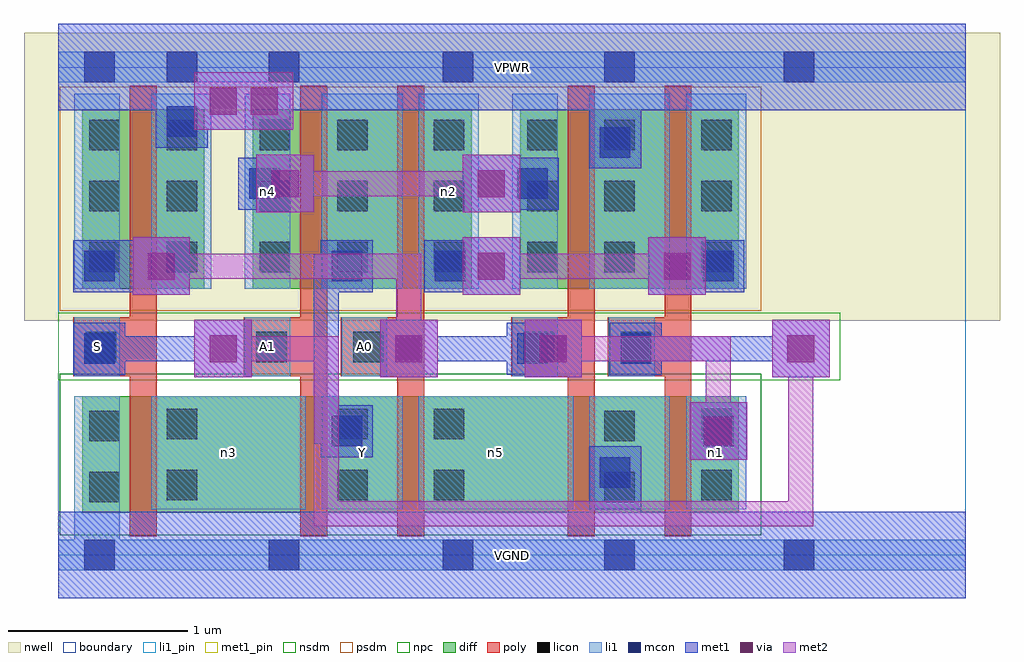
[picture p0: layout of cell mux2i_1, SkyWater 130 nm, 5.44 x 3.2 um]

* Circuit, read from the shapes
.subckt mux2i_1 A0 A1 S VGND VPWR Y n1 n2 n3 n4 n5
XM1 n3 S VGND VSUBS sky130_fd_pr__nfet_01v8 w=0.65 l=0.15
XM2 Y A1 n3 VSUBS sky130_fd_pr__nfet_01v8 w=0.65 l=0.15
XM3 n5 A0 Y VSUBS sky130_fd_pr__nfet_01v8 w=0.65 l=0.15
XM4 VGND n1 n5 VSUBS sky130_fd_pr__nfet_01v8 w=0.65 l=0.15
XM5 n1 S VGND VSUBS sky130_fd_pr__nfet_01v8 w=0.65 l=0.15
XM6 VPWR S n1 n6 sky130_fd_pr__pfet_01v8 w=1 l=0.15
XM7 Y A1 n4 n6 sky130_fd_pr__pfet_01v8 w=1 l=0.15
XM8 n2 A0 Y n6 sky130_fd_pr__pfet_01v8 w=1 l=0.15
XM9 VPWR n1 n4 n6 sky130_fd_pr__pfet_01v8 w=1 l=0.15
XM10 n2 S VPWR n6 sky130_fd_pr__pfet_01v8 w=1 l=0.15
.ends

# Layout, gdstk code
import gdstk
lib = gdstk.Library(unit=1e-6, precision=1e-09)
def R(c, l, rs):  # rectangles x0, y0, x1, y1
    for r in rs: c.add(gdstk.rectangle(r[:2], r[2:], *l))
def A(c, l, x, y, w, h, nx, ny, dx, dy):  # array of equal rectangles
    R(c, l, [(x+i*dx, y+j*dy, x+i*dx+w, y+j*dy+h) for i in range(nx) for j in range(ny)])
nwell = (64, 20)
diff = (65, 20)
poly = (66, 20)
licon = (66, 44)
li1_pin = (67, 16)
li1 = (67, 20)
mcon = (67, 44)
met1_pin = (68, 16)
met1 = (68, 20)
via = (68, 44)
met2 = (69, 20)
nsdm = (93, 44)
psdm = (94, 20)
npc = (95, 20)
boundary = (235, 4)

mux2i_1 = lib.new_cell('mux2i_1')
R(mux2i_1, nwell, [(-0.19,1.305,5.25,2.91), (0,1.305,5.06,2.91)])
R(mux2i_1, diff, [(0.135,0.235,3.795,0.885), (0.135,1.485,0.815,2.485), (1.085,1.485,2.305,2.485), (2.575,1.485,3.795,2.485)])
R(mux2i_1, poly, [(0.4,0.105,0.55,2.615), (1.35,0.105,1.5,2.615), (1.89,0.105,2.04,2.615), (2.84,0.105,2.99,2.615), (3.38,0.105,3.53,2.615), (0.085,0.995,0.55,1.325), (1.035,0.995,1.5,1.325), (1.575,0.995,2.04,1.325), (2.525,0.995,2.99,1.325), (3.065,0.995,3.53,1.325)])
A(mux2i_1, licon, 0.175, 1.575, 0.17, 0.17, 1, 3, 0, 0.34)
A(mux2i_1, licon, 0.605, 1.575, 0.17, 0.17, 1, 3, 0, 0.34)
A(mux2i_1, licon, 1.125, 1.575, 0.17, 0.17, 1, 3, 0, 0.34)
A(mux2i_1, licon, 1.555, 1.575, 0.17, 0.17, 1, 3, 0, 0.34)
A(mux2i_1, licon, 2.095, 1.575, 0.17, 0.17, 1, 3, 0, 0.34)
A(mux2i_1, licon, 2.615, 1.575, 0.17, 0.17, 1, 3, 0, 0.34)
A(mux2i_1, licon, 3.045, 1.575, 0.17, 0.17, 1, 3, 0, 0.34)
A(mux2i_1, licon, 3.585, 1.575, 0.17, 0.17, 1, 3, 0, 0.34)
R(mux2i_1, licon, [(0.175,0.295,0.345,0.465), (3.045,0.295,3.215,0.465), (0.605,0.305,0.775,0.475), (1.555,0.305,1.725,0.475), (2.095,0.305,2.265,0.475), (3.585,0.305,3.755,0.475), (0.175,0.635,0.345,0.805), (3.045,0.635,3.215,0.805), (0.605,0.645,0.775,0.815), (1.555,0.645,1.725,0.815), (2.095,0.645,2.265,0.815), (3.585,0.645,3.755,0.815), (0.155,1.075,0.325,1.245), (1.105,1.075,1.275,1.245), (1.645,1.075,1.815,1.245), (2.595,1.075,2.765,1.245), (3.135,1.075,3.305,1.245)])
R(mux2i_1, li1_pin, [(1.47,0.255,1.92,0.885), (0.09,0.995,0.345,1.325), (1.04,0.995,1.295,1.325), (1.58,0.995,1.835,1.325)])
A(mux2i_1, li1, 0.52, 1.485, 0.335, 1.085, 3, 1, 1.49, 0)
R(mux2i_1, li1, [(0,-0.085,5.06,0.085), (0.09,-0.085,0.345,0.885), (0.52,0.255,1.38,0.885), (1.47,0.255,1.92,0.885), (2.01,0.255,2.87,0.885), (2.96,0.255,3.41,0.885), (3.5,0.255,3.835,0.885), (0.09,0.995,0.345,1.325), (1.04,0.995,1.295,1.325), (1.58,0.995,1.835,1.325), (2.53,0.995,2.785,1.325), (3.07,0.995,3.325,1.325), (0.09,1.485,0.345,2.57), (1.04,1.485,1.295,2.57), (1.47,1.485,1.92,2.57), (2.53,1.485,2.785,2.57), (2.96,1.485,3.41,2.57), (0,2.635,5.06,2.805)])
R(mux2i_1, mcon, [(0.145,-0.085,0.315,0.085), (1.175,-0.085,1.345,0.085), (2.145,-0.085,2.315,0.085), (3.045,-0.085,3.215,0.085), (4.045,-0.085,4.215,0.085), (3.02,0.375,3.19,0.545), (1.525,0.605,1.695,0.775), (3.595,0.605,3.765,0.775), (0.145,1.065,0.315,1.235), (2.56,1.065,2.73,1.235), (3.135,1.065,3.305,1.235), (0.145,1.525,0.315,1.695), (1.525,1.525,1.695,1.695), (2.1,1.525,2.27,1.695), (3.595,1.525,3.765,1.695), (1.065,1.985,1.235,2.155), (2.56,1.985,2.73,2.155), (3.02,2.215,3.19,2.385), (0.605,2.33,0.775,2.5), (0.145,2.635,0.315,2.805), (0.605,2.635,0.775,2.805), (1.175,2.635,1.345,2.805), (2.145,2.635,2.315,2.805), (3.045,2.635,3.215,2.805), (4.045,2.635,4.215,2.805)])
R(mux2i_1, met1_pin, [(0,-0.24,5.06,0.24), (0,2.48,5.06,2.96)])
R(mux2i_1, met1, [(0,-0.24,5.06,0.24), (3.035,0.045,3.175,0.185), (3.035,0.045,3.175,0.53), (2.96,0.24,3.25,0.315), (2.96,0.315,3.25,0.605), (3.52,0.53,3.84,0.85), (1.465,0.545,1.755,0.835), (3.535,0.545,3.825,0.835), (1.425,0.62,1.68,0.76), (1.425,0.62,1.565,1.68), (0.76,0.99,1.08,1.31), (1.795,0.99,2.115,1.31), (2.6,0.99,2.92,1.31), (3.98,0.99,4.3,1.31), (0.085,1.005,0.375,1.295), (2.5,1.005,2.79,1.295), (3.075,1.005,3.365,1.295), (0.16,1.08,0.99,1.22), (1.885,1.08,2.715,1.22), (2.575,1.08,2.83,1.22), (3.15,1.08,4.21,1.22), (0.415,1.45,0.735,1.77), (2.255,1.45,2.575,1.77), (3.29,1.45,3.61,1.77), (0.085,1.465,0.375,1.755), (0.375,1.465,0.415,1.755), (1.465,1.465,1.755,1.755), (2.04,1.465,2.33,1.755), (3.535,1.465,3.825,1.755), (0.16,1.54,0.645,1.68), (1.425,1.54,1.68,1.68), (2.115,1.54,2.485,1.68), (3.38,1.54,3.75,1.68), (1.105,1.91,1.425,2.23), (2.255,1.91,2.575,2.23), (1.005,1.925,1.295,2.215), (2.5,1.925,2.79,2.215), (1.08,2,1.335,2.14), (2.345,2,2.715,2.14), (2.96,2.155,3.25,2.445), (3.035,2.23,3.175,2.715), (0.545,2.27,0.835,2.56), (0.62,2.345,0.76,2.6), (0.76,2.37,1.08,2.69), (0.99,2.37,1.31,2.69), (2.96,2.445,3.25,2.48), (2.96,2.445,3.175,2.575), (0.62,2.46,0.99,2.6), (0.62,2.46,0.76,2.79), (1.08,2.46,1.22,2.715), (0,2.48,5.06,2.96), (0.545,2.575,0.835,2.865), (1.08,2.575,3.175,2.715)])
R(mux2i_1, via, [(3.605,0.615,3.755,0.765), (0.845,1.075,0.995,1.225), (1.88,1.075,2.03,1.225), (2.685,1.075,2.835,1.225), (4.065,1.075,4.215,1.225), (0.5,1.535,0.65,1.685), (2.34,1.535,2.49,1.685), (3.375,1.535,3.525,1.685), (1.19,1.995,1.34,2.145), (2.34,1.995,2.49,2.145), (0.845,2.455,0.995,2.605), (1.075,2.455,1.225,2.605)])
R(mux2i_1, met2, [(1.425,0.16,1.565,1.22), (1.425,0.16,4.21,0.3), (4.07,0.16,4.21,1.22), (3.52,0.53,3.84,0.85), (3.61,0.62,3.75,1.22), (0.76,0.99,1.08,1.31), (1.795,0.99,2.115,1.31), (2.6,0.99,2.92,1.31), (3.98,0.99,4.3,1.31), (0.85,1.08,1.565,1.22), (1.885,1.08,2.025,1.68), (2.69,1.08,3.75,1.22), (0.415,1.45,0.735,1.77), (2.255,1.45,2.575,1.77), (3.29,1.45,3.61,1.77), (0.505,1.54,2.025,1.68), (2.345,1.54,3.52,1.68), (1.105,1.91,1.425,2.23), (2.255,1.91,2.575,2.23), (1.195,2,2.485,2.14), (0.76,2.37,1.08,2.69), (0.99,2.37,1.31,2.69), (0.85,2.46,1.22,2.6)])
R(mux2i_1, nsdm, [(0.01,0.11,3.92,1.01)])
R(mux2i_1, psdm, [(0.01,1.36,3.92,2.61)])
R(mux2i_1, npc, [(0,0.975,4.36,1.35)])
R(mux2i_1, boundary, [(0,0,5.06,2.72)])
mux2i_1.add(gdstk.Label('A0', (1.707,1.16), layer=67, texttype=5))
mux2i_1.add(gdstk.Label('A1', (1.167,1.16), layer=67, texttype=5))
mux2i_1.add(gdstk.Label('S', (0.217,1.16), layer=67, texttype=5))
mux2i_1.add(gdstk.Label('Y', (1.695,0.57), layer=67, texttype=5))
mux2i_1.add(gdstk.Label('n3', (0.95,0.57), layer=67, texttype=5))
mux2i_1.add(gdstk.Label('n5', (2.44,0.57), layer=67, texttype=5))
mux2i_1.add(gdstk.Label('n1', (3.667,0.57), layer=67, texttype=5))
mux2i_1.add(gdstk.Label('n4', (1.167,2.027), layer=67, texttype=5))
mux2i_1.add(gdstk.Label('n2', (2.177,2.027), layer=67, texttype=5))
mux2i_1.add(gdstk.Label('VPWR', (2.53,2.72), layer=68, texttype=5))
mux2i_1.add(gdstk.Label('VGND', (2.53,0), layer=68, texttype=5))
mux2i_1.add(gdstk.Label('A0', (1.707,1.16), layer=67, texttype=16))
mux2i_1.add(gdstk.Label('A1', (1.167,1.16), layer=67, texttype=16))
mux2i_1.add(gdstk.Label('S', (0.217,1.16), layer=67, texttype=16))
mux2i_1.add(gdstk.Label('Y', (1.695,0.57), layer=67, texttype=16))
mux2i_1.add(gdstk.Label('VPWR', (2.53,2.72), layer=68, texttype=16))
mux2i_1.add(gdstk.Label('VGND', (2.53,0), layer=68, texttype=16))

lib.write_gds('mux2i_1.gds')
